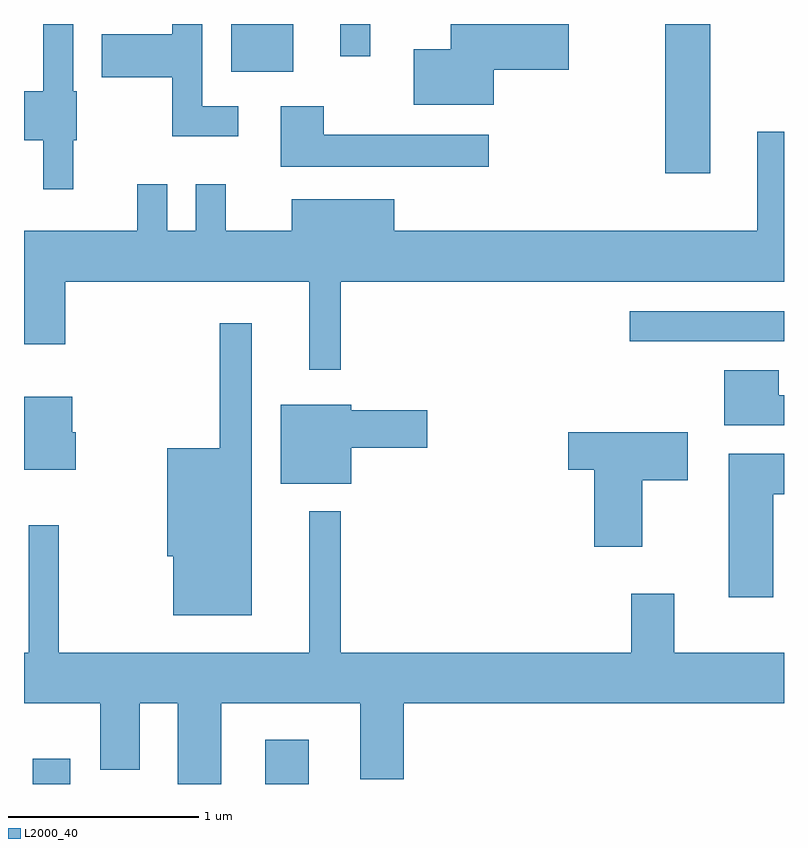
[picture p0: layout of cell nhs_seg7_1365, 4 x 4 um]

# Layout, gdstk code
import gdstk
lib = gdstk.Library(unit=1e-6, precision=1e-09)
def R(c, l, rs):  # rectangles x0, y0, x1, y1
    for r in rs: c.add(gdstk.rectangle(r[:2], r[2:], *l))
def P(c, l, *ps):  # polygons
    for p in ps: c.add(gdstk.Polygon(p, *l))
L2000_40 = (2000, 40)

nhs_seg7_1365 = lib.new_cell('nhs_seg7_1365')
R(nhs_seg7_1365, L2000_40, [(225.656,1798.252,225.854,1798.384), (226.881,1798.252,227.109,1798.484), (228.798,1800.581,229.611,1800.739), (228.986,1801.466,229.224,1802.252), (226.701,1802.001,227.029,1802.252), (227.276,1802.083,227.434,1802.252)])
P(nhs_seg7_1365, L2000_40, [(228.084,1802.011),(228.479,1802.011),(228.479,1802.252),(227.856,1802.252),(227.856,1802.119),(227.661,1802.119),(227.661,1801.826),(228.084,1801.826)],
  [(225.869,1801.641),(225.889,1801.641),(225.889,1801.899),(225.869,1801.899),(225.869,1802.252),(225.711,1802.252),(225.711,1801.899),(225.611,1801.899),(225.611,1801.641),(225.711,1801.641),(225.711,1801.383),(225.869,1801.383)],
  [(226.738,1801.819),(226.549,1801.819),(226.549,1802.252),(226.391,1802.252),(226.391,1802.199),(226.021,1802.199),(226.021,1801.971),(226.391,1801.971),(226.391,1801.661),(226.738,1801.661)],
  [(228.058,1801.669),(227.189,1801.669),(227.189,1801.819),(226.961,1801.819),(226.961,1801.501),(228.058,1801.501)],
  [(227.279,1800.896),(229.611,1800.896),(229.611,1801.684),(229.471,1801.684),(229.471,1801.164),(227.559,1801.164),(227.559,1801.329),(227.021,1801.329),(227.021,1801.164),(226.674,1801.164),(226.674,1801.408),(226.516,1801.408),(226.516,1801.164),(226.364,1801.164),(226.364,1801.408),(226.206,1801.408),(226.206,1801.164),(225.611,1801.164),(225.611,1800.566),(225.829,1800.566),(225.829,1800.896),(227.111,1800.896),(227.111,1800.433),(227.279,1800.433)],
  [(226.809,1800.678),(226.641,1800.678),(226.641,1800.019),(226.366,1800.019),(226.366,1799.451),(226.396,1799.451),(226.396,1799.141),(226.809,1799.141)],
  [(229.611,1800.299),(229.584,1800.299),(229.584,1800.429),(229.296,1800.429),(229.296,1800.141),(229.611,1800.141)],
  [(225.884,1800.104),(225.864,1800.104),(225.864,1800.289),(225.611,1800.289),(225.611,1799.906),(225.884,1799.906)],
  [(227.334,1800.021),(227.734,1800.021),(227.734,1800.219),(227.334,1800.219),(227.334,1800.249),(226.961,1800.249),(226.961,1799.831),(227.334,1799.831)],
  [(228.864,1799.851),(229.104,1799.851),(229.104,1800.104),(228.476,1800.104),(228.476,1799.906),(228.611,1799.906),(228.611,1799.501),(228.864,1799.501)],
  [(229.554,1799.776),(229.611,1799.776),(229.611,1799.989),(229.321,1799.989),(229.321,1799.236),(229.554,1799.236)],
  [(227.381,1798.276),(227.609,1798.276),(227.609,1798.676),(229.611,1798.676),(229.611,1798.944),(229.034,1798.944),(229.034,1799.254),(228.806,1799.254),(228.806,1798.944),(227.279,1798.944),(227.279,1799.688),(227.111,1799.688),(227.111,1798.944),(225.794,1798.944),(225.794,1799.613),(225.636,1799.613),(225.636,1798.944),(225.611,1798.944),(225.611,1798.676),(226.011,1798.676),(226.011,1798.326),(226.219,1798.326),(226.219,1798.676),(226.421,1798.676),(226.421,1798.252),(226.649,1798.252),(226.649,1798.676),(227.381,1798.676)])

lib.write_gds('nhs_seg7_1365.gds')
